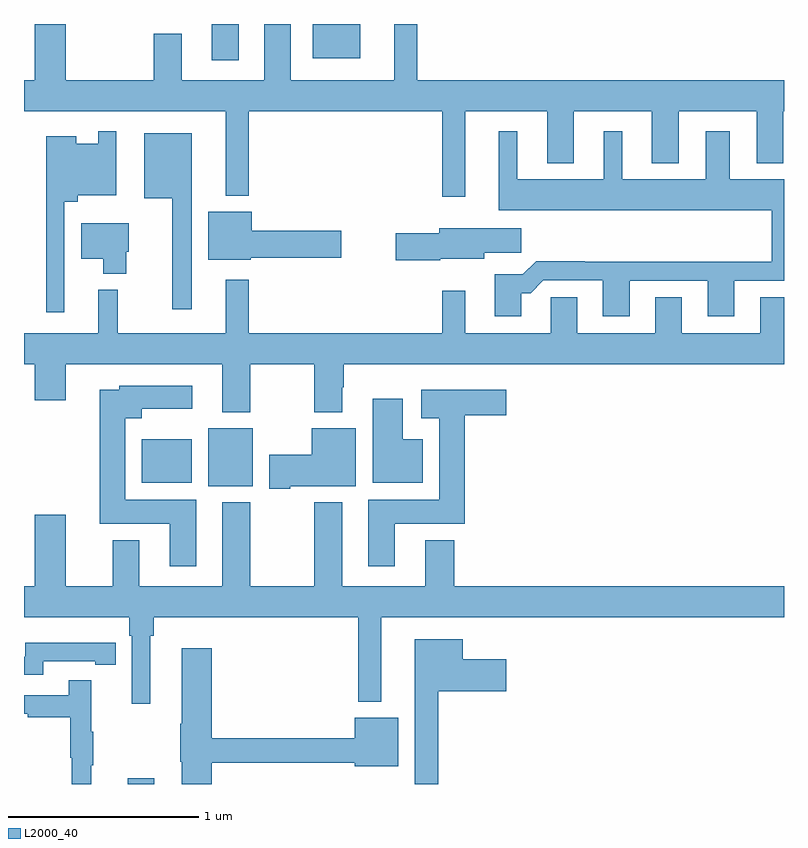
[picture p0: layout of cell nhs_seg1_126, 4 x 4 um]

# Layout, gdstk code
import gdstk
lib = gdstk.Library(unit=1e-6, precision=1e-09)
def R(c, l, rs):  # rectangles x0, y0, x1, y1
    for r in rs: c.add(gdstk.rectangle(r[:2], r[2:], *l))
def P(c, l, *ps):  # polygons
    for p in ps: c.add(gdstk.Polygon(p, *l))
L2000_40 = (2000, 40)

nhs_seg1_126 = lib.new_cell('nhs_seg1_126')
R(nhs_seg1_126, L2000_40, [(117.545,540.199,117.685,540.229), (117.971,541.766,118.204,542.071), (117.62,541.784,117.883,542.014), (117.989,544.008,118.129,544.199), (118.52,544.019,118.771,544.199)])
P(nhs_seg1_126, L2000_40, [(119.323,543.74),(119.753,543.74),(119.753,543.467),(119.893,543.467),(119.893,543.74),(120.305,543.74),(120.305,543.467),(120.445,543.467),(120.445,543.74),(120.857,543.74),(120.857,543.467),(120.997,543.467),(120.997,543.74),(121,543.74),(121,543.904),(119.071,543.904),(119.071,544.199),(118.949,544.199),(118.949,543.904),(118.405,543.904),(118.405,544.199),(118.265,544.199),(118.265,543.904),(117.829,543.904),(117.829,544.147),(117.682,544.147),(117.682,543.904),(117.22,543.904),(117.22,544.199),(117.056,544.199),(117.056,543.904),(117,543.904),(117,543.74),(118.061,543.74),(118.061,543.296),(118.183,543.296),(118.183,543.74),(119.202,543.74),(119.202,543.291),(119.323,543.291)],
  [(119.617,542.783),(119.666,542.783),(119.733,542.85),(120.047,542.85),(120.047,542.661),(120.187,542.661),(120.187,542.847),(120.599,542.847),(120.599,542.661),(120.739,542.661),(120.739,542.847),(121,542.847),(121,543.382),(120.715,543.382),(120.715,543.634),(120.587,543.634),(120.587,543.382),(120.148,543.382),(120.148,543.634),(120.05,543.634),(120.05,543.382),(119.596,543.382),(119.596,543.634),(119.498,543.634),(119.498,543.218),(120.935,543.218),(120.935,542.948),(119.951,542.948),(119.951,542.951),(119.696,542.951),(119.626,542.881),(119.477,542.881),(119.477,542.661),(119.617,542.661)],
  [(117.213,543.263),(117.282,543.263),(117.282,543.299),(117.486,543.299),(117.486,543.634),(117.39,543.634),(117.39,543.568),(117.274,543.568),(117.274,543.607),(117.116,543.607),(117.116,542.682),(117.213,542.682)],
  [(117.883,543.625),(117.632,543.625),(117.632,543.281),(117.779,543.281),(117.779,542.697),(117.883,542.697)],
  [(118.194,542.968),(118.669,542.968),(118.669,543.11),(118.198,543.11),(118.198,543.211),(117.971,543.211),(117.971,542.957),(118.194,542.957)],
  [(117.538,543),(117.55,543),(117.55,543.151),(117.302,543.151),(117.302,542.963),(117.416,542.963),(117.416,542.885),(117.538,542.885)],
  [(119.19,542.963),(119.422,542.963),(119.422,542.995),(119.617,542.995),(119.617,543.124),(119.186,543.124),(119.186,543.098),(118.956,543.098),(118.956,542.956),(119.19,542.956)],
  [(118.191,542.408),(118.528,542.408),(118.528,542.156),(118.675,542.156),(118.675,542.288),(118.683,542.288),(118.683,542.408),(121,542.408),(121,542.762),(120.875,542.762),(120.875,542.572),(120.463,542.572),(120.463,542.762),(120.323,542.762),(120.323,542.572),(119.911,542.572),(119.911,542.762),(119.772,542.762),(119.772,542.572),(119.323,542.572),(119.323,542.794),(119.202,542.794),(119.202,542.572),(118.183,542.572),(118.183,542.854),(118.061,542.854),(118.061,542.572),(117.494,542.572),(117.494,542.8),(117.392,542.8),(117.392,542.572),(117,542.572),(117,542.408),(117.056,542.408),(117.056,542.22),(117.22,542.22),(117.22,542.408),(118.043,542.408),(118.043,542.156),(118.191,542.156)],
  [(117.907,541.696),(117.532,541.696),(117.532,542.123),(117.619,542.123),(117.619,542.174),(117.886,542.174),(117.886,542.296),(117.501,542.296),(117.501,542.275),(117.398,542.275),(117.398,541.568),(117.767,541.568),(117.767,541.344),(117.907,541.344)],
  [(118.951,541.568),(119.321,541.568),(119.321,542.141),(119.539,542.141),(119.539,542.275),(119.091,542.275),(119.091,542.123),(119.186,542.123),(119.186,541.696),(118.811,541.696),(118.811,541.344),(118.951,541.344)],
  [(119.098,542.014),(118.993,542.014),(118.993,542.227),(118.835,542.227),(118.835,541.784),(119.098,541.784)],
  [(118.402,541.766),(118.747,541.766),(118.747,542.071),(118.514,542.071),(118.514,541.932),(118.29,541.932),(118.29,541.754),(118.402,541.754)],
  [(117.664,540.98),(117.683,540.98),(117.683,541.076),(118.758,541.076),(118.758,540.632),(118.879,540.632),(118.879,541.076),(121,541.076),(121,541.24),(119.264,541.24),(119.264,541.483),(119.111,541.483),(119.111,541.24),(118.675,541.24),(118.675,541.681),(118.528,541.681),(118.528,541.24),(118.191,541.24),(118.191,541.681),(118.043,541.681),(118.043,541.24),(117.607,541.24),(117.607,541.483),(117.467,541.483),(117.467,541.24),(117.22,541.24),(117.22,541.615),(117.056,541.615),(117.056,541.24),(117,541.24),(117,541.076),(117.554,541.076),(117.554,540.98),(117.567,540.98),(117.567,540.621),(117.664,540.621)],
  [(119.179,540.686),(119.539,540.686),(119.539,540.856),(119.308,540.856),(119.308,540.961),(119.057,540.961),(119.057,540.199),(119.179,540.199)],
  [(117.102,540.846),(117.374,540.846),(117.374,540.826),(117.482,540.826),(117.482,540.942),(117.374,540.942),(117.374,540.943),(117.006,540.943),(117.006,540.87),(117,540.87),(117,540.774),(117.102,540.774)],
  [(117.989,540.312),(118.742,540.312),(118.742,540.293),(118.969,540.293),(118.969,540.547),(118.742,540.547),(118.742,540.44),(117.989,540.44),(117.989,540.913),(117.83,540.913),(117.83,540.517),(117.823,540.517),(117.823,540.317),(117.83,540.317),(117.83,540.199),(117.989,540.199)],
  [(117.353,540.299),(117.364,540.299),(117.364,540.473),(117.353,540.473),(117.353,540.745),(117.235,540.745),(117.235,540.666),(117,540.666),(117,540.57),(117.019,540.57),(117.019,540.55),(117.243,540.55),(117.243,540.336),(117.25,540.336),(117.25,540.199),(117.353,540.199)])

lib.write_gds('nhs_seg1_126.gds')
